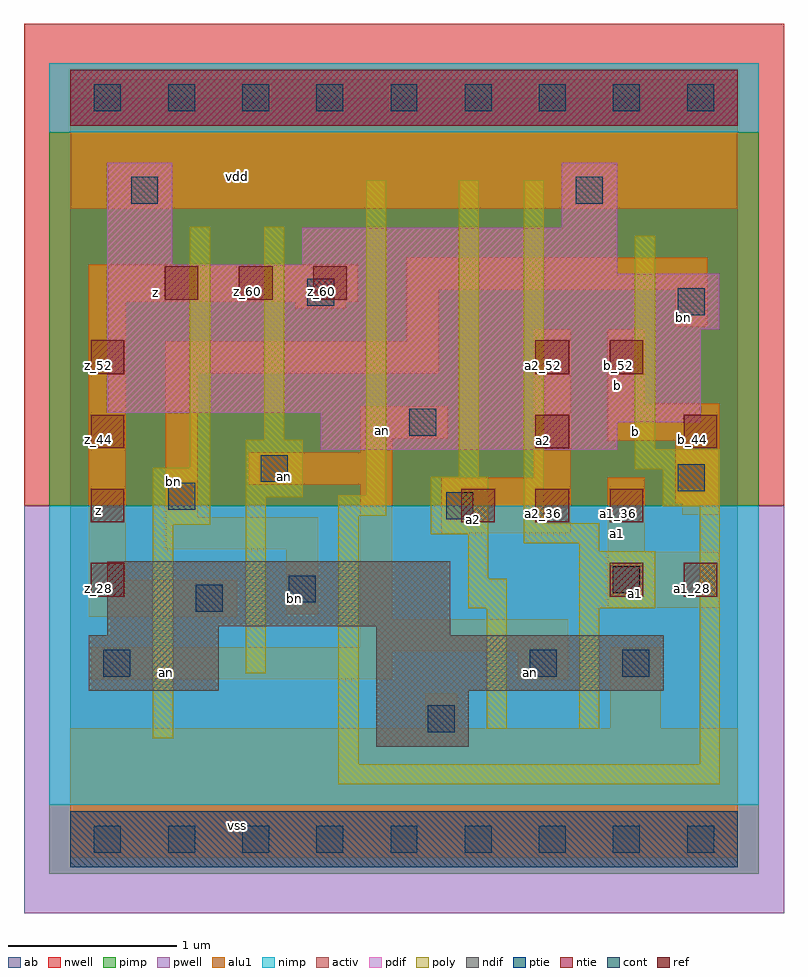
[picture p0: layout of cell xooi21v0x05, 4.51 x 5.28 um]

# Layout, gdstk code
import gdstk
lib = gdstk.Library(unit=1e-6, precision=2.5e-09)
def R(c, l, rs):  # rectangles x0, y0, x1, y1
    for r in rs: c.add(gdstk.rectangle(r[:2], r[2:], *l))
def A(c, l, x, y, w, h, nx, ny, dx, dy):  # array of equal rectangles
    R(c, l, [(x+i*dx, y+j*dy, x+i*dx+w, y+j*dy+h) for i in range(nx) for j in range(ny)])
ndif = (3, 0)
pdif = (4, 0)
ntie = (5, 0)
ptie = (6, 0)
ref = (24, 0)
cont = (25, 0)
pwell = (41, 0)
nwell = (42, 0)
activ = (43, 0)
pimp = (44, 0)
nimp = (45, 0)
poly = (46, 0)
alu1 = (49, 0)
ab = (63, 0)

xooi21v0x05 = lib.new_cell('xooi21v0x05')
R(xooi21v0x05, ndif, [(1.815,0.55,2.365,0.88), (0.11,0.88,0.88,1.21), (1.815,0.88,3.52,1.21), (0.22,1.21,0.88,1.265), (1.815,1.21,2.255,1.265), (0.22,1.265,2.255,1.65)])
R(xooi21v0x05, pdif, [(1.485,2.31,3.245,2.475), (1.485,2.475,3.74,2.53), (0.22,2.53,3.74,3.025), (0.22,3.025,3.85,3.355), (0.22,3.355,3.245,3.41), (0.22,3.41,0.605,4.015), (1.375,3.41,3.245,3.63), (2.915,3.63,3.245,4.015)])
R(xooi21v0x05, ntie, [(0,4.235,3.96,4.565)])
R(xooi21v0x05, ptie, [(0,-0.165,3.96,0.165)])
A(xooi21v0x05, ref, 0.12, 1.44, 0.2, 0.2, 1, 4, 0, 0.44)
A(xooi21v0x05, ref, 2.32, 1.88, 0.2, 0.2, 3, 1, 0.44, 0)
A(xooi21v0x05, ref, 0.56, 3.2, 0.2, 0.2, 3, 1, 0.44, 0)
R(xooi21v0x05, ref, [(3.2,1.44,3.4,1.64), (3.64,1.44,3.84,1.64), (2.76,2.32,2.96,2.52), (3.64,2.32,3.84,2.52), (2.76,2.76,2.96,2.96), (3.2,2.76,3.4,2.96)])
A(xooi21v0x05, cont, 0.14, -0.08, 0.16, 0.16, 9, 2, 0.44, 4.4)
R(xooi21v0x05, cont, [(2.12,0.635,2.28,0.795), (0.195,0.965,0.355,1.125), (2.725,0.965,2.885,1.125), (3.275,0.965,3.435,1.125), (0.745,1.35,0.905,1.51), (1.295,1.405,1.455,1.565), (3.22,1.46,3.38,1.62), (2.23,1.9,2.39,2.06), (0.58,1.955,0.74,2.115), (3.605,2.065,3.765,2.225), (1.13,2.12,1.29,2.28), (2.01,2.395,2.17,2.555), (3.605,3.11,3.765,3.27), (1.405,3.165,1.565,3.325), (0.36,3.77,0.52,3.93), (3,3.77,3.16,3.93)])
R(xooi21v0x05, pwell, [(-0.275,-0.44,4.235,1.98)])
R(xooi21v0x05, nwell, [(-0.275,1.98,4.235,4.84)])
R(xooi21v0x05, activ, [(0,-0.165,3.96,0.165), (1.815,0.55,2.365,0.88), (0.11,0.88,0.88,1.21), (1.815,0.88,3.52,1.21), (0.22,1.21,0.88,1.265), (1.815,1.21,2.255,1.265), (0.22,1.265,2.255,1.65), (1.485,2.31,3.245,2.475), (1.485,2.475,3.74,2.53), (0.22,2.53,3.74,3.025), (0.22,3.025,3.85,3.355), (0.22,3.355,3.245,3.41), (0.22,3.41,0.605,4.015), (1.375,3.41,3.245,3.63), (2.915,3.63,3.245,4.015), (0,4.235,3.96,4.565)])
R(xooi21v0x05, pimp, [(-0.125,-0.205,4.085,0.205), (-0.125,1.98,4.085,4.195)])
R(xooi21v0x05, nimp, [(-0.125,0.205,4.085,1.98), (-0.125,4.195,4.085,4.605)])
R(xooi21v0x05, poly, [(1.59,0.325,3.855,0.445), (1.59,0.445,1.71,1.92), (3.735,0.445,3.855,1.975), (0.49,0.6,0.61,1.865), (2.47,0.655,2.59,1.37), (3.02,0.655,3.14,1.37), (1.04,0.985,1.16,2.03), (2.36,1.37,2.59,1.545), (3.02,1.37,3.47,1.71), (2.36,1.545,2.48,1.81), (3.02,1.71,3.14,1.755), (2.69,1.755,3.14,1.875), (2.14,1.81,2.48,2.15), (0.49,1.865,0.83,2.205), (2.69,1.875,2.81,3.91), (1.59,1.92,1.875,2.04), (3.515,1.975,3.855,2.195), (1.04,2.03,1.38,2.37), (1.755,2.04,1.875,3.91), (2.305,2.15,2.425,3.91), (3.35,2.195,3.855,2.315), (0.71,2.205,0.83,3.635), (3.35,2.315,3.47,3.58), (1.15,2.37,1.27,3.635)])
R(xooi21v0x05, alu1, [(0,-0.11,3.96,0.66), (2.105,0.66,2.295,0.865), (3.205,0.66,3.505,1.14), (0.125,0.95,1.91,1.115), (2.655,0.95,2.955,1.115), (0.125,1.115,2.955,1.14), (1.72,1.14,2.955,1.305), (1.72,1.305,1.91,2.105), (0.11,1.32,0.99,1.54), (1.28,1.335,1.47,1.72), (3.19,1.375,3.85,1.705), (0.11,1.54,0.33,3.19), (3.19,1.705,3.41,2.145), (0.565,1.72,1.47,1.91), (2.2,1.815,2.97,2.145), (0.565,1.91,0.755,2.765), (3.63,1.925,3.85,1.995), (3.59,1.995,3.85,2.365), (1.06,2.105,1.91,2.295), (2.75,2.145,2.97,3.025), (1.72,2.295,1.91,2.38), (3.19,2.365,3.85,2.585), (1.72,2.38,2.24,2.57), (3.19,2.585,3.41,3.025), (0.565,2.765,2.185,2.955), (1.995,2.955,2.185,3.26), (3.59,3.04,3.78,3.26), (1.335,3.15,1.635,3.19), (0.11,3.19,1.705,3.41), (1.995,3.26,3.78,3.45), (0,3.74,3.96,4.51)])
R(xooi21v0x05, ab, [(0,0,3.96,4.4)])
xooi21v0x05.add(gdstk.Label('vss', (0.99,0.0825), layer=49, texttype=0))
xooi21v0x05.add(gdstk.Label('an', (2.73,0.99), layer=49, texttype=0))
xooi21v0x05.add(gdstk.Label('an', (0.57,0.99), layer=49, texttype=0))
xooi21v0x05.add(gdstk.Label('a1', (3.355,1.4575), layer=49, texttype=0))
xooi21v0x05.add(gdstk.Label('a1', (3.245,1.815), layer=49, texttype=0))
xooi21v0x05.add(gdstk.Label('a2', (2.3925,1.8975), layer=49, texttype=0))
xooi21v0x05.add(gdstk.Label('bn', (1.3275,1.43), layer=49, texttype=0))
xooi21v0x05.add(gdstk.Label('b', (3.355,2.42), layer=49, texttype=0))
xooi21v0x05.add(gdstk.Label('b', (3.245,2.695), layer=49, texttype=0))
xooi21v0x05.add(gdstk.Label('a2', (2.805,2.365), layer=49, texttype=0))
xooi21v0x05.add(gdstk.Label('an', (1.2725,2.1525), layer=49, texttype=0))
xooi21v0x05.add(gdstk.Label('an', (1.85,2.4275), layer=49, texttype=0))
xooi21v0x05.add(gdstk.Label('bn', (0.6125,2.1225), layer=49, texttype=0))
xooi21v0x05.add(gdstk.Label('bn', (3.6375,3.095), layer=49, texttype=0))
xooi21v0x05.add(gdstk.Label('z', (0.165,1.9525), layer=49, texttype=0))
xooi21v0x05.add(gdstk.Label('z', (0.5075,3.245), layer=49, texttype=0))
xooi21v0x05.add(gdstk.Label('vdd', (0.99,3.9325), layer=49, texttype=0))
xooi21v0x05.add(gdstk.Label('z_60', (0.61,3.25), layer=24, texttype=0))
xooi21v0x05.add(gdstk.Label('z_60', (1.05,3.25), layer=24, texttype=0))
xooi21v0x05.add(gdstk.Label('z_60', (1.49,3.25), layer=24, texttype=0))
xooi21v0x05.add(gdstk.Label('z_28', (0.17,1.49), layer=24, texttype=0))
xooi21v0x05.add(gdstk.Label('z_36', (0.17,1.93), layer=24, texttype=0))
xooi21v0x05.add(gdstk.Label('z_44', (0.17,2.37), layer=24, texttype=0))
xooi21v0x05.add(gdstk.Label('z_52', (0.17,2.81), layer=24, texttype=0))
xooi21v0x05.add(gdstk.Label('a2_36', (2.37,1.93), layer=24, texttype=0))
xooi21v0x05.add(gdstk.Label('a2_36', (2.81,1.93), layer=24, texttype=0))
xooi21v0x05.add(gdstk.Label('a2_44', (2.81,2.37), layer=24, texttype=0))
xooi21v0x05.add(gdstk.Label('a2_52', (2.81,2.81), layer=24, texttype=0))
xooi21v0x05.add(gdstk.Label('a1_28', (3.25,1.49), layer=24, texttype=0))
xooi21v0x05.add(gdstk.Label('a1_36', (3.25,1.93), layer=24, texttype=0))
xooi21v0x05.add(gdstk.Label('b_52', (3.25,2.81), layer=24, texttype=0))
xooi21v0x05.add(gdstk.Label('a1_28', (3.69,1.49), layer=24, texttype=0))
xooi21v0x05.add(gdstk.Label('b_44', (3.69,2.37), layer=24, texttype=0))

lib.write_gds('xooi21v0x05.gds')
